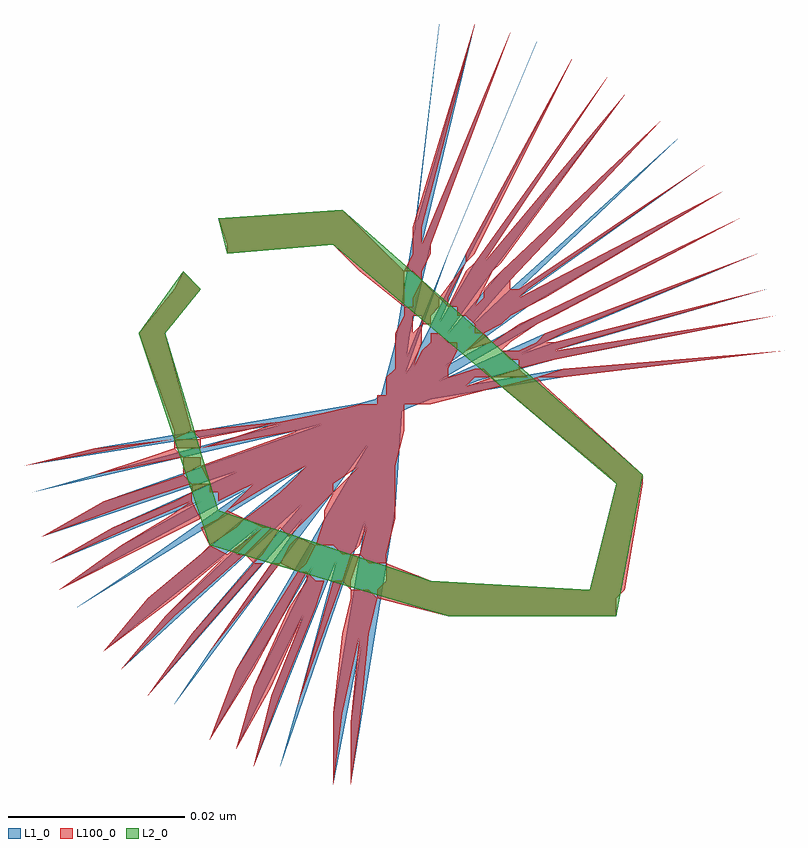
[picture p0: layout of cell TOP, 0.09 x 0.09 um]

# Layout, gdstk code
import gdstk
lib = gdstk.Library(unit=1e-6, precision=1e-09)
def R(c, l, rs):  # rectangles x0, y0, x1, y1
    for r in rs: c.add(gdstk.rectangle(r[:2], r[2:], *l))
def P(c, l, *ps):  # polygons
    for p in ps: c.add(gdstk.Polygon(p, *l))
L1_0 = (1, 0)
L2_0 = (2, 0)
L100_0 = (100, 0)

top = lib.new_cell('TOP')
P(top, L1_0, [(0.369,0.313),(0.376,0.317),(0.425,0.339),(0.449,0.348),(0.425,0.338),(0.398,0.325)],
  [(0.377,0.301),(0.382,0.307),(0.421,0.344),(0.44,0.361),(0.421,0.343),(0.4,0.322)],
  [(0.403,0.288),(0.403,0.295),(0.41,0.349),(0.413,0.374),(0.41,0.348),(0.408,0.319)],
  [(0.367,0.321),(0.374,0.323),(0.426,0.337),(0.451,0.341),(0.426,0.336),(0.397,0.328)],
  [(0.368,0.316),(0.375,0.32),(0.426,0.338),(0.45,0.344),(0.426,0.337),(0.398,0.326)],
  [(0.375,0.303),(0.38,0.309),(0.422,0.344),(0.443,0.358),(0.422,0.343),(0.4,0.323)],
  [(0.372,0.308),(0.378,0.312),(0.422,0.343),(0.445,0.355),(0.423,0.342),(0.398,0.324)],
  [(0.395,0.29),(0.397,0.297),(0.411,0.349),(0.421,0.373),(0.412,0.349),(0.405,0.319)],
  [(0.392,0.29),(0.394,0.298),(0.414,0.348),(0.424,0.372),(0.414,0.348),(0.404,0.32)],
  [(0.38,0.298),(0.385,0.305),(0.42,0.346),(0.438,0.363),(0.421,0.345),(0.401,0.322)],
  [(0.401,0.288),(0.401,0.296),(0.41,0.35),(0.417,0.374),(0.411,0.349),(0.407,0.319)],
  [(0.39,0.292),(0.392,0.299),(0.416,0.348),(0.428,0.37),(0.416,0.347),(0.404,0.32)],
  [(0.366,0.324),(0.374,0.326),(0.427,0.335),(0.452,0.337),(0.427,0.334),(0.397,0.329)],
  [(0.383,0.297),(0.387,0.303),(0.418,0.347),(0.434,0.366),(0.419,0.346),(0.401,0.321)],
  [(0.387,0.293),(0.39,0.301),(0.417,0.347),(0.432,0.368),(0.418,0.347),(0.403,0.32)],
  [(0.37,0.31),(0.377,0.315),(0.424,0.341),(0.447,0.352),(0.424,0.34),(0.398,0.325)])
P(top, L2_0, [(0.414,0.307),(0.387,0.315),(0.379,0.339),(0.384,0.346),(0.386,0.344),(0.382,0.339),(0.388,0.319),(0.412,0.311),(0.43,0.31),(0.433,0.322),(0.401,0.349),(0.389,0.348),(0.388,0.352),(0.402,0.353),(0.436,0.323),(0.433,0.307)])
R(top, L100_0, [(0.4,0.318,0.408,0.319), (0.384,0.324,0.386,0.325), (0.383,0.326,0.386,0.327), (0.408,0.338,0.411,0.339), (0.411,0.34,0.412,0.341), (0.41,0.342,0.413,0.343), (0.41,0.348,0.412,0.349), (0.41,0.349,0.411,0.351)])
P(top, L100_0, [(0.398,0.311),(0.398,0.312),(0.399,0.311)],
  [(0.404,0.346),(0.401,0.349),(0.406,0.349),(0.409,0.346)],
  [(0.416,0.347),(0.416,0.348),(0.417,0.348)],
  [(0.383,0.328),(0.379,0.339),(0.382,0.339),(0.385,0.328)],
  [(0.386,0.327),(0.385,0.328),(0.391,0.328)],
  [(0.406,0.309),(0.406,0.31),(0.434,0.31),(0.433,0.309)],
  [(0.427,0.335),(0.452,0.337),(0.435,0.335)],
  [(0.41,0.335),(0.411,0.337),(0.415,0.337),(0.414,0.335)],
  [(0.416,0.346),(0.417,0.347),(0.42,0.347),(0.419,0.346)],
  [(0.432,0.323),(0.42,0.333),(0.425,0.333),(0.436,0.323)],
  [(0.379,0.339),(0.383,0.344),(0.386,0.344),(0.382,0.339)],
  [(0.418,0.344),(0.419,0.345),(0.421,0.345),(0.421,0.344)],
  [(0.386,0.324),(0.397,0.328),(0.409,0.328),(0.408,0.324)],
  [(0.391,0.314),(0.394,0.317),(0.395,0.317),(0.393,0.314)],
  [(0.421,0.336),(0.42,0.337),(0.431,0.337),(0.426,0.336)],
  [(0.389,0.348),(0.389,0.349),(0.401,0.349)],
  [(0.408,0.335),(0.408,0.338),(0.411,0.338),(0.41,0.335)],
  [(0.387,0.293),(0.39,0.301),(0.392,0.301)],
  [(0.395,0.321),(0.396,0.322),(0.401,0.322),(0.401,0.321)],
  [(0.422,0.344),(0.443,0.358),(0.423,0.344)],
  [(0.419,0.345),(0.42,0.346),(0.422,0.346),(0.421,0.345)],
  [(0.374,0.326),(0.383,0.327),(0.377,0.326)],
  [(0.424,0.334),(0.427,0.335),(0.435,0.335),(0.427,0.334)],
  [(0.403,0.309),(0.403,0.31),(0.405,0.31),(0.406,0.309)],
  [(0.386,0.317),(0.388,0.318),(0.391,0.318),(0.39,0.317)],
  [(0.401,0.296),(0.402,0.305),(0.404,0.305),(0.402,0.296)],
  [(0.391,0.318),(0.395,0.321),(0.401,0.321),(0.398,0.318)],
  [(0.4,0.33),(0.404,0.331),(0.409,0.331),(0.409,0.33)],
  [(0.408,0.339),(0.409,0.341),(0.41,0.341),(0.41,0.339)],
  [(0.406,0.331),(0.406,0.332),(0.416,0.332),(0.412,0.331)],
  [(0.412,0.338),(0.412,0.339),(0.413,0.339),(0.414,0.338)],
  [(0.388,0.32),(0.388,0.321),(0.39,0.321)],
  [(0.385,0.321),(0.385,0.322),(0.387,0.322)],
  [(0.384,0.323),(0.384,0.324),(0.386,0.324)],
  [(0.383,0.327),(0.383,0.328),(0.385,0.328)],
  [(0.397,0.297),(0.401,0.311),(0.402,0.311)],
  [(0.403,0.31),(0.402,0.311),(0.403,0.311)],
  [(0.414,0.342),(0.413,0.343),(0.414,0.343)],
  [(0.411,0.345),(0.41,0.346),(0.411,0.346)],
  [(0.387,0.315),(0.386,0.317),(0.39,0.317)],
  [(0.424,0.341),(0.447,0.352),(0.426,0.341)],
  [(0.426,0.338),(0.45,0.344),(0.429,0.338)],
  [(0.426,0.337),(0.451,0.341),(0.431,0.337)],
  [(0.395,0.313),(0.396,0.315),(0.399,0.315),(0.398,0.313)],
  [(0.411,0.337),(0.412,0.338),(0.415,0.338),(0.415,0.337)],
  [(0.39,0.301),(0.397,0.312),(0.398,0.312),(0.392,0.301)],
  [(0.385,0.305),(0.392,0.313),(0.393,0.313),(0.386,0.305)],
  [(0.407,0.333),(0.407,0.334),(0.417,0.334),(0.416,0.333)],
  [(0.409,0.342),(0.404,0.346),(0.409,0.346)],
  [(0.401,0.321),(0.404,0.324),(0.408,0.324),(0.408,0.321)],
  [(0.395,0.329),(0.4,0.33),(0.409,0.33),(0.409,0.329)],
  [(0.41,0.339),(0.411,0.34),(0.411,0.339)],
  [(0.396,0.322),(0.398,0.324),(0.404,0.324),(0.401,0.322)],
  [(0.422,0.34),(0.424,0.341),(0.426,0.341),(0.424,0.34)],
  [(0.392,0.313),(0.391,0.314),(0.393,0.314)],
  [(0.396,0.316),(0.395,0.317),(0.397,0.317)],
  [(0.42,0.337),(0.419,0.338),(0.421,0.338)],
  [(0.414,0.342),(0.416,0.346),(0.419,0.346),(0.417,0.342)],
  [(0.4,0.319),(0.401,0.321),(0.408,0.321),(0.408,0.319)],
  [(0.399,0.315),(0.4,0.318),(0.405,0.318),(0.404,0.315)],
  [(0.369,0.313),(0.376,0.317),(0.378,0.317)],
  [(0.402,0.314),(0.401,0.315),(0.404,0.315),(0.403,0.314)],
  [(0.411,0.349),(0.421,0.373),(0.412,0.349)],
  [(0.366,0.324),(0.374,0.326),(0.377,0.326)],
  [(0.413,0.343),(0.416,0.347),(0.414,0.343)],
  [(0.381,0.322),(0.384,0.323),(0.385,0.322)],
  [(0.38,0.325),(0.383,0.326),(0.384,0.325)],
  [(0.416,0.333),(0.419,0.334),(0.42,0.333)],
  [(0.419,0.334),(0.422,0.335),(0.423,0.334)],
  [(0.41,0.343),(0.411,0.345),(0.413,0.343)],
  [(0.383,0.344),(0.384,0.346),(0.386,0.344)],
  [(0.422,0.335),(0.422,0.336),(0.426,0.336)],
  [(0.377,0.315),(0.382,0.318),(0.386,0.318),(0.38,0.315)],
  [(0.42,0.346),(0.438,0.363),(0.422,0.346)],
  [(0.389,0.319),(0.392,0.322),(0.394,0.322)],
  [(0.375,0.32),(0.381,0.322),(0.385,0.322),(0.379,0.32)],
  [(0.41,0.351),(0.417,0.374),(0.411,0.351)],
  [(0.387,0.321),(0.387,0.322),(0.392,0.322),(0.39,0.321)],
  [(0.382,0.318),(0.385,0.32),(0.386,0.318)],
  [(0.389,0.314),(0.393,0.317),(0.39,0.314)],
  [(0.416,0.337),(0.417,0.338),(0.419,0.338)],
  [(0.386,0.314),(0.387,0.315),(0.389,0.314)],
  [(0.396,0.315),(0.397,0.316),(0.399,0.315)],
  [(0.388,0.318),(0.389,0.319),(0.391,0.318)],
  [(0.387,0.303),(0.394,0.313),(0.395,0.313)],
  [(0.403,0.288),(0.403,0.295),(0.404,0.295)],
  [(0.37,0.31),(0.377,0.315),(0.38,0.315)],
  [(0.368,0.316),(0.375,0.32),(0.379,0.32)],
  [(0.416,0.341),(0.417,0.342),(0.423,0.342),(0.421,0.341)],
  [(0.409,0.346),(0.41,0.348),(0.412,0.348),(0.411,0.346)],
  [(0.389,0.349),(0.388,0.352),(0.403,0.352),(0.406,0.349)],
  [(0.417,0.338),(0.418,0.339),(0.419,0.338)],
  [(0.407,0.311),(0.407,0.313),(0.412,0.311)],
  [(0.392,0.29),(0.394,0.298),(0.395,0.298)],
  [(0.418,0.347),(0.434,0.366),(0.42,0.347)],
  [(0.374,0.323),(0.38,0.325),(0.384,0.325)],
  [(0.405,0.313),(0.404,0.314),(0.407,0.314),(0.407,0.313)],
  [(0.407,0.332),(0.407,0.333),(0.42,0.333),(0.416,0.332)],
  [(0.43,0.31),(0.433,0.322),(0.436,0.322),(0.434,0.31)],
  [(0.377,0.301),(0.382,0.307),(0.383,0.307)],
  [(0.414,0.334),(0.417,0.335),(0.418,0.335),(0.419,0.334)],
  [(0.42,0.333),(0.424,0.334),(0.425,0.333)],
  [(0.417,0.339),(0.417,0.34),(0.42,0.34),(0.418,0.339)],
  [(0.397,0.312),(0.395,0.313),(0.398,0.313)],
  [(0.393,0.317),(0.391,0.318),(0.398,0.318),(0.397,0.317)],
  [(0.382,0.307),(0.389,0.314),(0.391,0.314),(0.383,0.307)],
  [(0.407,0.334),(0.408,0.335),(0.414,0.335),(0.414,0.334)],
  [(0.402,0.311),(0.403,0.314),(0.404,0.314),(0.403,0.311)],
  [(0.38,0.298),(0.385,0.305),(0.386,0.305)],
  [(0.386,0.326),(0.392,0.328),(0.397,0.328)],
  [(0.418,0.343),(0.418,0.344),(0.423,0.344),(0.422,0.343)],
  [(0.396,0.308),(0.398,0.311),(0.4,0.311),(0.399,0.308)],
  [(0.394,0.298),(0.398,0.308),(0.399,0.308),(0.395,0.298)],
  [(0.392,0.299),(0.396,0.308),(0.398,0.308),(0.394,0.299)],
  [(0.392,0.328),(0.395,0.329),(0.409,0.329),(0.409,0.328)],
  [(0.401,0.288),(0.401,0.296),(0.402,0.296)],
  [(0.403,0.295),(0.404,0.305),(0.405,0.305),(0.404,0.295)],
  [(0.422,0.343),(0.445,0.355),(0.425,0.343)],
  [(0.425,0.339),(0.449,0.348),(0.427,0.339)],
  [(0.417,0.342),(0.418,0.343),(0.425,0.343),(0.423,0.342)],
  [(0.402,0.305),(0.403,0.309),(0.406,0.309),(0.405,0.305)],
  [(0.404,0.314),(0.405,0.318),(0.408,0.318),(0.407,0.314)],
  [(0.388,0.352),(0.402,0.353),(0.403,0.352)],
  [(0.375,0.303),(0.38,0.309),(0.383,0.309)],
  [(0.414,0.307),(0.406,0.309),(0.433,0.309),(0.433,0.307)],
  [(0.38,0.309),(0.386,0.314),(0.389,0.314),(0.383,0.309)],
  [(0.387,0.322),(0.386,0.324),(0.398,0.324),(0.394,0.322)],
  [(0.409,0.341),(0.409,0.342),(0.413,0.342),(0.412,0.341)],
  [(0.422,0.337),(0.424,0.338),(0.429,0.338),(0.426,0.337)],
  [(0.424,0.338),(0.425,0.339),(0.427,0.339),(0.425,0.338)],
  [(0.433,0.322),(0.432,0.323),(0.436,0.323),(0.436,0.322)],
  [(0.416,0.348),(0.428,0.37),(0.417,0.348)],
  [(0.385,0.328),(0.395,0.329),(0.391,0.328)],
  [(0.417,0.34),(0.416,0.341),(0.421,0.341),(0.42,0.34)],
  [(0.383,0.32),(0.385,0.321),(0.385,0.32)],
  [(0.39,0.292),(0.392,0.299),(0.394,0.299)],
  [(0.376,0.317),(0.383,0.32),(0.385,0.32),(0.378,0.317)],
  [(0.406,0.31),(0.407,0.311),(0.412,0.311),(0.43,0.31)],
  [(0.417,0.347),(0.432,0.368),(0.418,0.347)],
  [(0.419,0.338),(0.422,0.34),(0.424,0.34),(0.421,0.338)],
  [(0.415,0.341),(0.415,0.342),(0.417,0.342),(0.416,0.341)])

lib.write_gds('TOP.gds')
